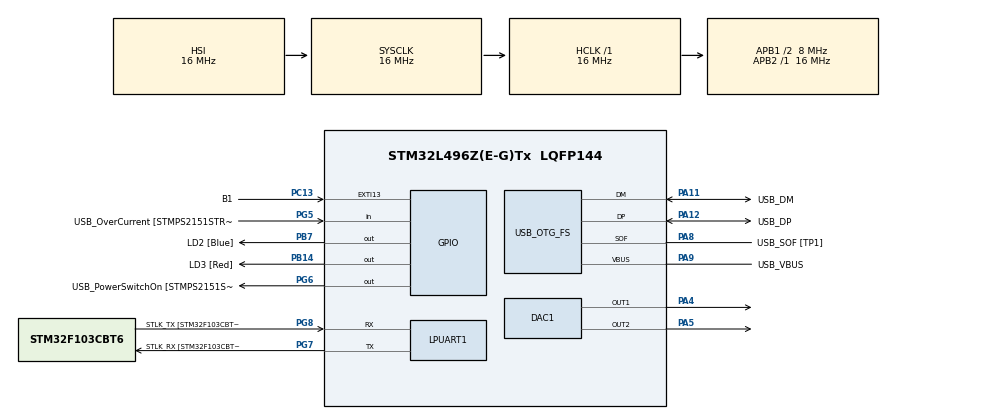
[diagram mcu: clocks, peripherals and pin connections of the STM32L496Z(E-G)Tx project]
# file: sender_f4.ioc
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DAC1.DAC_Channel-DAC_OUT2=DAC_CHANNEL_2
DAC1.DAC_OutputBuffer-DAC_OUT1=DAC_OUTPUTBUFFER_ENABLE
DAC1.DAC_OutputBuffer-DAC_OUT2=DAC_OUTPUTBUFFER_DISABLE
DAC1.DAC_Trigger-DAC_OUT1=DAC_TRIGGER_T2_TRGO
DAC1.DAC_Trigger-DAC_OUT2=DAC_TRIGGER_T2_TRGO
Dma.DAC_CH1.0.Direction=DMA_MEMORY_TO_PERIPH
Dma.DAC_CH1.0.Instance=DMA1_Channel3
Dma.DAC_CH1.0.MemDataAlignment=DMA_MDATAALIGN_BYTE
Dma.DAC_CH1.0.MemInc=DMA_MINC_ENABLE
Dma.DAC_CH1.0.Mode=DMA_CIRCULAR
Dma.DAC_CH1.0.PeriphDataAlignment=DMA_PDATAALIGN_BYTE
Dma.DAC_CH1.0.PeriphInc=DMA_PINC_DISABLE
Dma.DAC_CH1.0.Priority=DMA_PRIORITY_MEDIUM
Dma.DAC_CH2.1.Direction=DMA_MEMORY_TO_PERIPH
Dma.DAC_CH2.1.Instance=DMA1_Channel4
Dma.DAC_CH2.1.MemDataAlignment=DMA_MDATAALIGN_BYTE
Dma.DAC_CH2.1.MemInc=DMA_MINC_ENABLE
Dma.DAC_CH2.1.Mode=DMA_CIRCULAR
Dma.DAC_CH2.1.PeriphDataAlignment=DMA_PDATAALIGN_BYTE
Dma.DAC_CH2.1.PeriphInc=DMA_PINC_DISABLE
Dma.DAC_CH2.1.Priority=DMA_PRIORITY_MEDIUM
Dma.Request0=DAC_CH1
Dma.Request1=DAC_CH2
Mcu.Family=STM32L4
Mcu.Name=STM32L496Z(E-G)Tx
Mcu.Package=LQFP144
Mcu.UserConstants=Tim2_Count_Max,16000
NVIC.DMA1_Channel3_IRQn=true\:0\:0\:false\:false\:true\:false\:true\:true
NVIC.DMA1_Channel4_IRQn=true\:0\:0\:false\:false\:true\:false\:true\:true
NVIC.PriorityGroup=NVIC_PRIORITYGROUP_4
PA10.GPIO_Label=USB_ID
PA10.Signal=USB_OTG_FS_ID
PA11.GPIO_Label=USB_DM
PA11.Mode=Device_Only
PA11.Signal=USB_OTG_FS_DM
PA12.GPIO_Label=USB_DP
PA12.Mode=Device_Only
PA12.Signal=USB_OTG_FS_DP
PA13\ (JTMS/SWDIO).GPIO_Label=TMS
PA13\ (JTMS/SWDIO).Mode=Trace_Asynchronous_SW
PA13\ (JTMS/SWDIO).Signal=SYS_JTMS-SWDIO
PA14\ (JTCK/SWCLK).GPIO_Label=TCK
PA14\ (JTCK/SWCLK).Mode=Trace_Asynchronous_SW
PA14\ (JTCK/SWCLK).Signal=SYS_JTCK-SWCLK
PA4.Signal=COMP_DAC11_group
PA5.Signal=COMP_DAC12_group
PA8.GPIO_Label=USB_SOF [TP1]
PA8.Mode=Activate_SOF_FS
PA8.Signal=USB_OTG_FS_SOF
PA9.GPIO_Label=USB_VBUS
PA9.Mode=Activate_VBUS
PA9.Signal=USB_OTG_FS_VBUS
PB14.GPIO_Label=LD3 [Red]
PB14.Signal=GPIO_Output
PB3\ (JTDO/TRACESWO).GPIO_Label=SWO
PB3\ (JTDO/TRACESWO).Mode=Trace_Asynchronous_SW
PB3\ (JTDO/TRACESWO).Signal=SYS_JTDO-SWO
PB7.GPIO_Label=LD2 [Blue]
PB7.Signal=GPIO_Output
PC13.GPIO_Label=B1
PC13.Signal=GPXTI13
PC14-OSC32_IN\ (PC14).Mode=LSE-External-Oscillator
PC14-OSC32_IN\ (PC14).Signal=RCC_OSC32_IN
PC15-OSC32_OUT\ (PC15).Mode=LSE-External-Oscillator
PC15-OSC32_OUT\ (PC15).Signal=RCC_OSC32_OUT
PG5.GPIO_Label=USB_OverCurrent [STMPS2151STR_FAULT]
PG5.Signal=GPIO_Input
PG6.GPIO_Label=USB_PowerSwitchOn [STMPS2151STR_EN]
PG6.Signal=GPIO_Output
PG7.GPIO_Label=STLK_RX [STM32F103CBT6_PA3]
PG7.Mode=Asynchronous
PG7.Signal=LPUART1_TX
PG8.GPIO_Label=STLK_TX [STM32F103CBT6_PA2]
PG8.Mode=Asynchronous
PG8.Signal=LPUART1_RX
PH1-OSC_OUT\ (PH1).Signal=RCC_OSC_OUT
ProjectManager.HeapSize=0x200
ProjectManager.StackSize=0x400
ProjectManager.TargetToolchain=STM32CubeIDE
RCC.48MHZClocksFreq_Value=24000000
RCC.ADCFreq_Value=48000000
RCC.AHBFreq_Value=16000000
RCC.APB1CLKDivider=RCC_HCLK_DIV2
RCC.APB1Freq_Value=8000000
RCC.APB1TimFreq_Value=16000000
RCC.APB2Freq_Value=16000000
RCC.APB2TimFreq_Value=16000000
RCC.CortexFreq_Value=16000000
RCC.HCLKFreq_Value=16000000
RCC.HSE_VALUE=8000000
RCC.HSI48_VALUE=48000000
RCC.HSI_VALUE=16000000
RCC.MSI_VALUE=4000000
RCC.PLLMUL=RCC_PLL_MUL9
RCC.PLLN=71
RCC.PLLR=RCC_PLLR_DIV6
RCC.PLLSAI1N=24
RCC.PRESCALERUSB=RCC_USBCLKSOURCE_PLL_DIV1_5
RCC.SYSCLKFreq_VALUE=16000000
RCC.SYSCLKSource=RCC_SYSCLKSOURCE_HSI
RCC.SYSCLKSourceVirtual=RCC_SYSCLKSOURCE_PLLCLK
RCC.USBFreq_Value=48000000
RCC.VCOOutputFreq_Value=284000000
SH.COMP_DAC11_group.0=DAC1_OUT1,DAC_OUT1
SH.COMP_DAC12_group.0=DAC1_OUT2,DAC_OUT2
TIM2.Period=Tim2_Count_Max
TIM2.TIM_MasterOutputTrigger=TIM_TRGO_UPDATE
USB_OTG_FS.VirtualMode=Device_Only
VP_TIM2_VS_ClockSourceINT.Mode=Internal
board=NUCLEO-L496ZG

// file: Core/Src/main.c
/* USER CODE BEGIN Header */
/**
 ******************************************************************************
 * @file           : main.c
 * @brief          : Main program body
 ******************************************************************************
 * @attention
 *
 * Copyright (c) 2024 STMicroelectronics.
 * All rights reserved.
 *
 * This software is licensed under terms that can be found in the LICENSE file
 * in the root directory of this software component.
 * If no LICENSE file comes with this software, it is provided AS-IS.
 *
 ******************************************************************************
 */
/* USER CODE END Header */
#include "main.h"

/* USER CODE BEGIN Includes */
#include "../FT8/dac_controller.h"
#include "../FT8/ft8_waveform.h"
/* USER CODE END Includes */

DAC_HandleTypeDef hdac1;
DMA_HandleTypeDef hdma_dac_ch1;
DMA_HandleTypeDef hdma_dac_ch2;

UART_HandleTypeDef hlpuart1;

TIM_HandleTypeDef htim2;

PCD_HandleTypeDef hpcd_USB_OTG_FS;

void SystemClock_Config(void);
static void MX_GPIO_Init(void);
static void MX_DMA_Init(void);
static void MX_LPUART1_UART_Init(void);
static void MX_USB_OTG_FS_PCD_Init(void);
static void MX_DAC1_Init(void);
static void MX_TIM2_Init(void);

/* USER CODE BEGIN 0 */
#define TEST_BLOCK_SIZE 1000

void testBlock(uint32_t blockIdx, uint8_t *buffer1_ptr, uint8_t *buffer2_ptr)
{
  if ((blockIdx % 3) == 0)
  {
    for (uint32_t i = 0; i < TEST_BLOCK_SIZE; i++)
    {
      buffer1_ptr[i] = 255; // DAC通道1
      buffer2_ptr[i] = 255; // DAC通道2
    }
  }
  else
  {
    for (uint32_t i = 0; i < TEST_BLOCK_SIZE; i++)
    {
      buffer1_ptr[i] = 0; // DAC通道1
      buffer2_ptr[i] = 0; // DAC通道2
    }
  }
}

/* USER CODE END 0 */

int main(void)
{

  /* MCU Configuration--------------------------------------------------------*/

  /* Reset of all peripherals, Initializes the Flash interface and the Systick. */
  HAL_Init();

  /* Configure the system clock */
  SystemClock_Config();

  /* Initialize all configured peripherals */
  MX_GPIO_Init();
  MX_DMA_Init();
  MX_LPUART1_UART_Init();
  MX_USB_OTG_FS_PCD_Init();
  MX_DAC1_Init();
  MX_TIM2_Init();
  /* USER CODE BEGIN 2 */

  //  uint8_t arr[2];
  //  arr[1]=0;
  //  arr[0]=255;
  //  HAL_DAC_Start_DMA(&hdac1, DAC_CHANNEL_1, arr, 2, DAC_ALIGN_8B_R);

  uint8_t buffer[FT8_SYMBOL_SAMPLES * 4]; // 修改�??4倍大小，因为�??要两个�?�道的双缓冲
  DacControllerInit(buffer, FT8_SYMBOL_SAMPLES, 79, ft8_block_compute);
  DAC_Controller_Start();
  /* USER CODE END 2 */

  /* Infinite loop */
  while (1)
  {

    /* USER CODE BEGIN 3 */
    DAC_Controller_Process();
  }
  /* USER CODE END 3 */
}

void SystemClock_Config(void)
{
  RCC_OscInitTypeDef RCC_OscInitStruct = {0};
  RCC_ClkInitTypeDef RCC_ClkInitStruct = {0};

  /** Configure the main internal regulator output voltage
   */
  if (HAL_PWREx_ControlVoltageScaling(PWR_REGULATOR_VOLTAGE_SCALE1) != HAL_OK)
  {
    Error_Handler();
  }

  /** Configure LSE Drive Capability
   */
  HAL_PWR_EnableBkUpAccess();
  __HAL_RCC_LSEDRIVE_CONFIG(RCC_LSEDRIVE_LOW);

  /** Initializes the RCC Oscillators according to the specified parameters
   * in the RCC_OscInitTypeDef structure.
   */
  RCC_OscInitStruct.OscillatorType = RCC_OSCILLATORTYPE_HSI | RCC_OSCILLATORTYPE_LSE | RCC_OSCILLATORTYPE_MSI;
  RCC_OscInitStruct.LSEState = RCC_LSE_ON;
  RCC_OscInitStruct.HSIState = RCC_HSI_ON;
  RCC_OscInitStruct.HSICalibrationValue = RCC_HSICALIBRATION_DEFAULT;
  RCC_OscInitStruct.MSIState = RCC_MSI_ON;
  RCC_OscInitStruct.MSICalibrationValue = 0;
  RCC_OscInitStruct.MSIClockRange = RCC_MSIRANGE_6;
  RCC_OscInitStruct.PLL.PLLState = RCC_PLL_NONE;
  if (HAL_RCC_OscConfig(&RCC_OscInitStruct) != HAL_OK)
  {
    Error_Handler();
  }

  /** Initializes the CPU, AHB and APB buses clocks
   */
  RCC_ClkInitStruct.ClockType = RCC_CLOCKTYPE_HCLK | RCC_CLOCKTYPE_SYSCLK | RCC_CLOCKTYPE_PCLK1 | RCC_CLOCKTYPE_PCLK2;
  RCC_ClkInitStruct.SYSCLKSource = RCC_SYSCLKSOURCE_HSI;
  RCC_ClkInitStruct.AHBCLKDivider = RCC_SYSCLK_DIV1;
  RCC_ClkInitStruct.APB1CLKDivider = RCC_HCLK_DIV2;
  RCC_ClkInitStruct.APB2CLKDivider = RCC_HCLK_DIV1;

  if (HAL_RCC_ClockConfig(&RCC_ClkInitStruct, FLASH_LATENCY_0) != HAL_OK)
  {
    Error_Handler();
  }

  /** Enable MSI Auto calibration
   */
  HAL_RCCEx_EnableMSIPLLMode();
}

static void MX_DAC1_Init(void)
{

  DAC_ChannelConfTypeDef sConfig = {0};

  /** DAC Initialization
   */
  hdac1.Instance = DAC1;
  if (HAL_DAC_Init(&hdac1) != HAL_OK)
  {
    Error_Handler();
  }

  /** DAC channel OUT1 config
   */
  sConfig.DAC_SampleAndHold = DAC_SAMPLEANDHOLD_DISABLE;
  sConfig.DAC_Trigger = DAC_TRIGGER_T2_TRGO;
  sConfig.DAC_OutputBuffer = DAC_OUTPUTBUFFER_ENABLE;
  sConfig.DAC_ConnectOnChipPeripheral = DAC_CHIPCONNECT_DISABLE;
  sConfig.DAC_UserTrimming = DAC_TRIMMING_FACTORY;
  if (HAL_DAC_ConfigChannel(&hdac1, &sConfig, DAC_CHANNEL_1) != HAL_OK)
  {
    Error_Handler();
  }

  /** DAC channel OUT2 config
   */
  sConfig.DAC_OutputBuffer = DAC_OUTPUTBUFFER_DISABLE;
  if (HAL_DAC_ConfigChannel(&hdac1, &sConfig, DAC_CHANNEL_2) != HAL_OK)
  {
    Error_Handler();
  }
}

static void MX_LPUART1_UART_Init(void)
{

  hlpuart1.Instance = LPUART1;
  hlpuart1.Init.BaudRate = 209700;
  hlpuart1.Init.WordLength = UART_WORDLENGTH_7B;
  hlpuart1.Init.StopBits = UART_STOPBITS_1;
  hlpuart1.Init.Parity = UART_PARITY_NONE;
  hlpuart1.Init.Mode = UART_MODE_TX_RX;
  hlpuart1.Init.HwFlowCtl = UART_HWCONTROL_NONE;
  hlpuart1.Init.OneBitSampling = UART_ONE_BIT_SAMPLE_DISABLE;
  hlpuart1.AdvancedInit.AdvFeatureInit = UART_ADVFEATURE_NO_INIT;
  if (HAL_UART_Init(&hlpuart1) != HAL_OK)
  {
    Error_Handler();
  }
}

static void MX_TIM2_Init(void)
{

  TIM_ClockConfigTypeDef sClockSourceConfig = {0};
  TIM_MasterConfigTypeDef sMasterConfig = {0};

  htim2.Instance = TIM2;
  htim2.Init.Prescaler = 0;
  htim2.Init.CounterMode = TIM_COUNTERMODE_UP;
  htim2.Init.Period = Tim2_Count_Max;
  htim2.Init.ClockDivision = TIM_CLOCKDIVISION_DIV1;
  htim2.Init.AutoReloadPreload = TIM_AUTORELOAD_PRELOAD_DISABLE;
  if (HAL_TIM_Base_Init(&htim2) != HAL_OK)
  {
    Error_Handler();
  }
  sClockSourceConfig.ClockSource = TIM_CLOCKSOURCE_INTERNAL;
  if (HAL_TIM_ConfigClockSource(&htim2, &sClockSourceConfig) != HAL_OK)
  {
    Error_Handler();
  }
  sMasterConfig.MasterOutputTrigger = TIM_TRGO_UPDATE;
  sMasterConfig.MasterSlaveMode = TIM_MASTERSLAVEMODE_DISABLE;
  if (HAL_TIMEx_MasterConfigSynchronization(&htim2, &sMasterConfig) != HAL_OK)
  {
    Error_Handler();
  }
}

static void MX_USB_OTG_FS_PCD_Init(void)
{

  hpcd_USB_OTG_FS.Instance = USB_OTG_FS;
  hpcd_USB_OTG_FS.Init.dev_endpoints = 6;
  hpcd_USB_OTG_FS.Init.speed = PCD_SPEED_FULL;
  hpcd_USB_OTG_FS.Init.phy_itface = PCD_PHY_EMBEDDED;
  hpcd_USB_OTG_FS.Init.Sof_enable = ENABLE;
  hpcd_USB_OTG_FS.Init.low_power_enable = DISABLE;
  hpcd_USB_OTG_FS.Init.lpm_enable = DISABLE;
  hpcd_USB_OTG_FS.Init.battery_charging_enable = ENABLE;
  hpcd_USB_OTG_FS.Init.use_dedicated_ep1 = DISABLE;
  hpcd_USB_OTG_FS.Init.vbus_sensing_enable = ENABLE;
  if (HAL_PCD_Init(&hpcd_USB_OTG_FS) != HAL_OK)
  {
    Error_Handler();
  }
}

static void MX_DMA_Init(void)
{

  /* DMA controller clock enable */
  __HAL_RCC_DMA1_CLK_ENABLE();

  /* DMA interrupt init */
  /* DMA1_Channel3_IRQn interrupt configuration */
  HAL_NVIC_SetPriority(DMA1_Channel3_IRQn, 0, 0);
  HAL_NVIC_EnableIRQ(DMA1_Channel3_IRQn);
  /* DMA1_Channel4_IRQn interrupt configuration */
  HAL_NVIC_SetPriority(DMA1_Channel4_IRQn, 0, 0);
  HAL_NVIC_EnableIRQ(DMA1_Channel4_IRQn);
}

static void MX_GPIO_Init(void)
{
  GPIO_InitTypeDef GPIO_InitStruct = {0};

  /* GPIO Ports Clock Enable */
  __HAL_RCC_GPIOC_CLK_ENABLE();
  __HAL_RCC_GPIOH_CLK_ENABLE();
  __HAL_RCC_GPIOA_CLK_ENABLE();
  __HAL_RCC_GPIOB_CLK_ENABLE();
  __HAL_RCC_GPIOG_CLK_ENABLE();
  HAL_PWREx_EnableVddIO2();

  /*Configure GPIO pin Output Level */
  HAL_GPIO_WritePin(GPIOB, LD3_Pin | LD2_Pin, GPIO_PIN_RESET);

  /*Configure GPIO pin Output Level */
  HAL_GPIO_WritePin(USB_PowerSwitchOn_GPIO_Port, USB_PowerSwitchOn_Pin, GPIO_PIN_RESET);

  /*Configure GPIO pin : B1_Pin */
  GPIO_InitStruct.Pin = B1_Pin;
  GPIO_InitStruct.Mode = GPIO_MODE_IT_RISING;
  GPIO_InitStruct.Pull = GPIO_NOPULL;
  HAL_GPIO_Init(B1_GPIO_Port, &GPIO_InitStruct);

  /*Configure GPIO pins : LD3_Pin LD2_Pin */
  GPIO_InitStruct.Pin = LD3_Pin | LD2_Pin;
  GPIO_InitStruct.Mode = GPIO_MODE_OUTPUT_PP;
  GPIO_InitStruct.Pull = GPIO_NOPULL;
  GPIO_InitStruct.Speed = GPIO_SPEED_FREQ_LOW;
  HAL_GPIO_Init(GPIOB, &GPIO_InitStruct);

  /*Configure GPIO pin : USB_OverCurrent_Pin */
  GPIO_InitStruct.Pin = USB_OverCurrent_Pin;
  GPIO_InitStruct.Mode = GPIO_MODE_INPUT;
  GPIO_InitStruct.Pull = GPIO_NOPULL;
  HAL_GPIO_Init(USB_OverCurrent_GPIO_Port, &GPIO_InitStruct);

  /*Configure GPIO pin : USB_PowerSwitchOn_Pin */
  GPIO_InitStruct.Pin = USB_PowerSwitchOn_Pin;
  GPIO_InitStruct.Mode = GPIO_MODE_OUTPUT_PP;
  GPIO_InitStruct.Pull = GPIO_NOPULL;
  GPIO_InitStruct.Speed = GPIO_SPEED_FREQ_LOW;
  HAL_GPIO_Init(USB_PowerSwitchOn_GPIO_Port, &GPIO_InitStruct);

}

void Error_Handler(void)
{
  __disable_irq();
  while (1)
  {
  }
}
